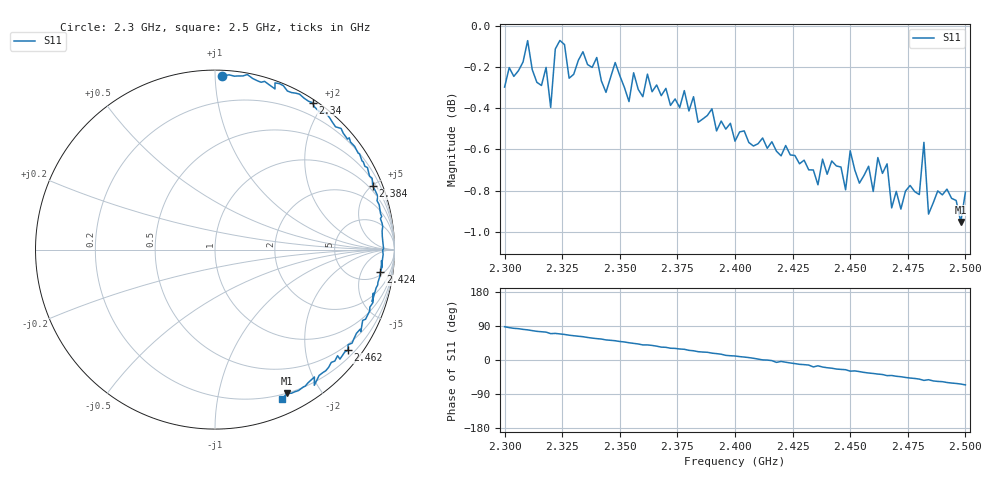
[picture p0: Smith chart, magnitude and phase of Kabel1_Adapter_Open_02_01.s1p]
# HZ S RI R 50
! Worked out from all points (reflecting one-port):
!   101 points, 2.3 GHz to 2.5 GHz, reference 50 ohm
!   lowest |S11| = -1.0 dB at 2.498 GHz (marker M1), VSWR 18.25, Z = 9.84 - j80 ohm
!   phase of S11 starts at 88 deg and turns -153 deg over the sweep
!   S11 on the Smith chart (normalised r, x): 2.3 GHz: 0.04, +1.04; 2.34 GHz: 0.04, +1.86; 2.384 GHz: 0.73, +5.06; 2.424 GHz: 6, -11; 2.462 GHz: 0.36, -2.94; 2.5 GHz: 0.16, -1.54
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2.3e9  0.0369 0.9657
2.31e9  0.1801 0.9754
2.32e9  0.3341 0.8951
2.326e9  0.3804 0.9136
2.34e9  0.5436 0.8185
2.35e9  0.6404 0.732
2.376e9  0.8353 0.4638
2.384e9  0.8789 0.3539
2.4e9  0.9216 0.1725
2.416e9  0.9369 -0.0264
2.418e9  0.9267 -0.1021
2.42e9  0.9279 -0.0613
2.424e9  0.9218 -0.1264
2.426e9  0.9174 -0.1532
2.432e9  0.8977 -0.2132
2.434e9  0.8758 -0.2899
2.436e9  0.8823 -0.2423
2.444e9  0.8455 -0.3743
2.448e9  0.8228 -0.3944
2.45e9  0.8124 -0.4579
2.452e9  0.8089 -0.4436
2.462e9  0.7406 -0.5608
2.476e9  0.6171 -0.6751
2.48e9  0.5801 -0.7011
2.482e9  0.5532 -0.7562
2.484e9  0.5539 -0.7095
2.498e9  0.4008 -0.8015
2.5e9  0.3754 -0.8303
